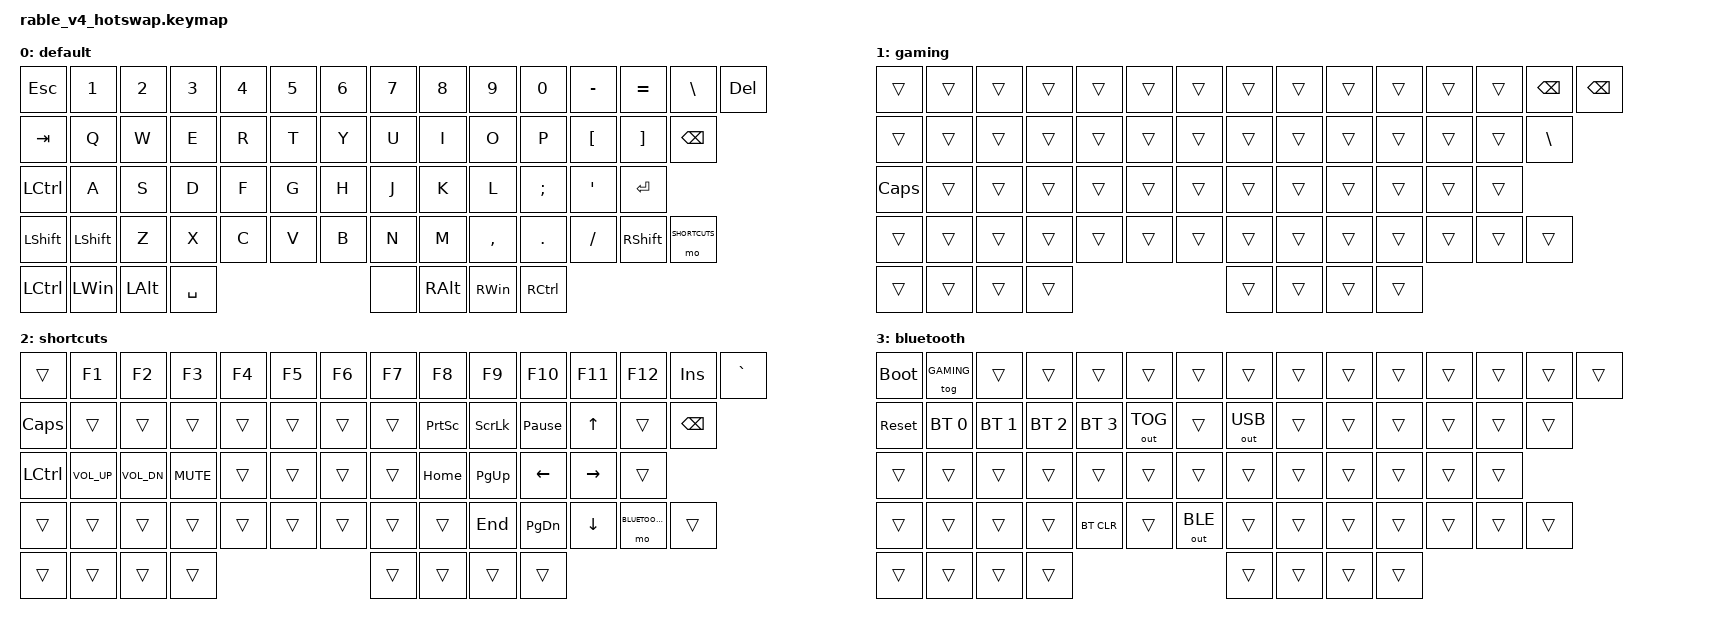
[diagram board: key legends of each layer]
/*
 * Copyright (c) 2021 Nick Winans
 *
 * SPDX-License-Identifier: MIT
 */

#include <behaviors.dtsi>
#include <dt-bindings/zmk/bt.h>
#include <dt-bindings/zmk/keys.h>
#include <dt-bindings/zmk/outputs.h>

#define DEFAULT 0
#define GAMING 1
#define SHORTCUTS 2
#define BLUETOOTH 3

/ {
    keymap {
        compatible = "zmk,keymap";

        default {
            bindings = <
                &kp ESC                 &kp N1   &kp N2   &kp N3   &kp N4   &kp N5   &kp N6   &kp N7   &kp N8      &kp N9    &kp N0     &kp MINUS   &kp EQUAL   &kp BSLH   &kp DELETE 
                &kp TAB                 &kp Q    &kp W    &kp E    &kp R    &kp T    &kp Y    &kp U    &kp I       &kp O     &kp P      &kp LBKT    &kp RBKT    &kp BSPC
                &kp LCTRL               &kp A    &kp S    &kp D    &kp F    &kp G    &kp H    &kp J    &kp K       &kp L     &kp SEMI   &kp SQT     &kp RET
                &kp LSHFT   &kp LSHFT   &kp Z    &kp X    &kp C    &kp V    &kp B    &kp N    &kp M    &kp COMMA   &kp DOT   &kp FSLH   &kp RSHFT   &mo SHORTCUTS
                &kp LCTRL   &kp LWIN    &kp LEFT_ALT                         &kp SPACE         &none    &kp RALT    &kp RWIN  &kp RCTRL
            >;
        };

        gaming {
            bindings = <
                &trans            &trans   &trans   &trans   &trans   &trans   &trans   &trans   &trans   &trans   &trans   &trans   &trans   &kp BSPC   &kp BSPC
                &trans            &trans   &trans   &trans   &trans   &trans   &trans   &trans   &trans   &trans   &trans   &trans   &trans   &kp BSLH 
                &kp CLCK          &trans   &trans   &trans   &trans   &trans   &trans   &trans   &trans   &trans   &trans   &trans   &trans
                &trans   &trans   &trans   &trans   &trans   &trans   &trans   &trans   &trans   &trans   &trans   &trans   &trans   &trans 
                &trans   &trans   &trans                              &trans            &trans   &trans   &trans   &trans 
            >;
        };


        shortcuts {
            bindings = <
                &trans            &kp F1         &kp F2         &kp F3       &kp F4   &kp F5   &kp F6   &kp F7   &kp F8     &kp F9     &kp F10          &kp F11          &kp F12  &kp INS   &kp GRAVE 
                &kp CLCK          &trans         &trans         &trans       &trans   &trans   &trans   &trans   &kp PSCRN  &kp SLCK   &kp PAUSE_BREAK  &kp UP           &trans   &kp BSPC 
                &kp LCTRL         &kp C_VOL_UP   &kp C_VOL_DN   &kp C_MUTE   &trans   &trans   &trans   &trans   &kp HOME   &kp PG_UP  &kp LEFT         &kp RIGHT        &trans
                &trans   &trans   &trans         &trans         &trans       &trans   &trans   &trans   &trans   &kp END    &kp PG_DN  &kp DOWN         &mo BLUETOOTH    &trans  
                &trans   &trans   &trans                                              &trans            &trans   &trans     &trans     &trans
            >;
        };

        bluetooth {
            bindings = <
                &bootloader            &tog GAMING    &trans         &trans         &trans         &trans         &trans   &trans         &trans   &trans   &trans   &trans   &trans   &trans   &trans 
                &sys_reset             &bt BT_SEL 0   &bt BT_SEL 1   &bt BT_SEL 2   &bt BT_SEL 3   &out OUT_TOG   &trans   &out OUT_USB   &trans   &trans   &trans   &trans   &trans   &trans 
                &trans                 &trans         &trans         &trans         &trans         &trans         &trans   &trans         &trans   &trans   &trans   &trans   &trans
                &trans        &trans   &trans         &trans         &bt BT_CLR     &trans         &out OUT_BLE   &trans   &trans         &trans   &trans   &trans   &trans   &trans 
                &trans        &trans   &trans                                                      &trans                  &trans         &trans   &trans   &trans 
            >;
        };

    };
};
